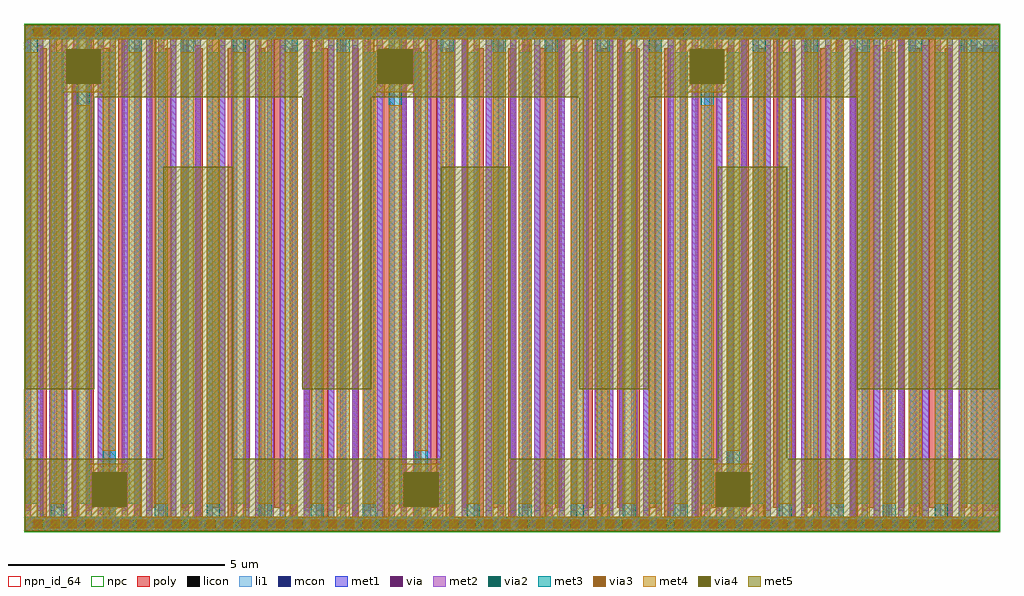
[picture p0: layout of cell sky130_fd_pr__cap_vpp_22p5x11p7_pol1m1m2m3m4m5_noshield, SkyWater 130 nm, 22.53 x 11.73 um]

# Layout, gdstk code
import gdstk
lib = gdstk.Library(unit=1e-6, precision=1e-09)
def R(c, l, rs):  # rectangles x0, y0, x1, y1
    for r in rs: c.add(gdstk.rectangle(r[:2], r[2:], *l))
def A(c, l, x, y, w, h, nx, ny, dx, dy):  # array of equal rectangles
    R(c, l, [(x+i*dx, y+j*dy, x+i*dx+w, y+j*dy+h) for i in range(nx) for j in range(ny)])
poly = (66, 20)
licon = (66, 44)
li1 = (67, 20)
mcon = (67, 44)
met1 = (68, 20)
via = (68, 44)
met2 = (69, 20)
via2 = (69, 44)
met3 = (70, 20)
via3 = (70, 44)
met4 = (71, 20)
via4 = (71, 44)
met5 = (72, 20)
npn_id_64 = (82, 64)
npc = (95, 20)

sky130_fd_pr__cap_vpp_22 = lib.new_cell('sky130_fd_pr__cap_vpp_22p5x11p7_pol1m1m2m3m4m5_noshield')
A(sky130_fd_pr__cap_vpp_22, poly, 0.36, 0.33, 0.15, 10.82, 31, 1, 0.72, 0)
A(sky130_fd_pr__cap_vpp_22, poly, 0, 0.54, 0.15, 10.82, 31, 1, 0.72, 0)
R(sky130_fd_pr__cap_vpp_22, poly, [(0,0,22.49,0.33), (22.32,0.54,22.49,11.36), (0,11.36,22.49,11.69)])
A(sky130_fd_pr__cap_vpp_22, licon, 0.17, 0.08, 0.17, 0.17, 65, 2, 0.34, 11.36)
A(sky130_fd_pr__cap_vpp_22, li1, 0, 0.33, 0.14, 10.89, 40, 1, 0.56, 0)
A(sky130_fd_pr__cap_vpp_22, li1, 0.28, 0.47, 0.14, 10.89, 39, 1, 0.56, 0)
R(sky130_fd_pr__cap_vpp_22, li1, [(0,0,22.49,0.33), (22.12,0.47,22.49,11.36), (0,11.36,22.49,11.69)])
A(sky130_fd_pr__cap_vpp_22, mcon, 0.19, 0.08, 0.17, 0.17, 61, 2, 0.36, 11.36)
A(sky130_fd_pr__cap_vpp_22, met1, 0.28, 0.33, 0.14, 10.89, 39, 1, 0.56, 0)
A(sky130_fd_pr__cap_vpp_22, met1, 0, 0.47, 0.14, 10.89, 40, 1, 0.56, 0)
R(sky130_fd_pr__cap_vpp_22, met1, [(0,0,22.49,0.33), (22.12,0.33,22.49,11.22), (0,11.36,22.49,11.69)])
R(sky130_fd_pr__cap_vpp_22, via, [(0.175,0.09,0.325,0.24), (0.495,0.09,0.645,0.24), (1.235,0.09,1.385,0.24), (1.555,0.09,1.705,0.24), (2.355,0.09,2.505,0.24), (2.675,0.09,2.825,0.24), (3.475,0.09,3.625,0.24), (3.795,0.09,3.945,0.24), (4.595,0.09,4.745,0.24), (4.915,0.09,5.065,0.24), (5.715,0.09,5.865,0.24), (6.035,0.09,6.185,0.24), (6.835,0.09,6.985,0.24), (7.155,0.09,7.305,0.24), (7.955,0.09,8.105,0.24), (8.275,0.09,8.425,0.24), (9.075,0.09,9.225,0.24), (9.395,0.09,9.545,0.24), (10.195,0.09,10.345,0.24), (10.515,0.09,10.665,0.24), (11.315,0.09,11.465,0.24), (11.635,0.09,11.785,0.24), (12.435,0.09,12.585,0.24), (12.755,0.09,12.905,0.24), (13.555,0.09,13.705,0.24), (13.875,0.09,14.025,0.24), (14.675,0.09,14.825,0.24), (14.995,0.09,15.145,0.24), (15.795,0.09,15.945,0.24), (16.115,0.09,16.265,0.24), (16.915,0.09,17.065,0.24), (17.235,0.09,17.385,0.24), (18.035,0.09,18.185,0.24), (18.355,0.09,18.505,0.24), (19.155,0.09,19.305,0.24), (19.475,0.09,19.625,0.24), (20.275,0.09,20.425,0.24), (20.595,0.09,20.745,0.24), (21.395,0.09,21.545,0.24), (21.715,0.09,21.865,0.24), (0.395,11.45,0.545,11.6), (0.715,11.45,0.865,11.6), (1.515,11.45,1.665,11.6), (1.835,11.45,1.985,11.6), (2.635,11.45,2.785,11.6), (2.955,11.45,3.105,11.6), (3.755,11.45,3.905,11.6), (4.075,11.45,4.225,11.6), (4.875,11.45,5.025,11.6), (5.195,11.45,5.345,11.6), (5.995,11.45,6.145,11.6), (6.315,11.45,6.465,11.6), (7.115,11.45,7.265,11.6), (7.435,11.45,7.585,11.6), (8.235,11.45,8.385,11.6), (8.555,11.45,8.705,11.6), (9.355,11.45,9.505,11.6), (9.675,11.45,9.825,11.6), (10.475,11.45,10.625,11.6), (10.795,11.45,10.945,11.6), (11.595,11.45,11.745,11.6), (11.915,11.45,12.065,11.6), (12.715,11.45,12.865,11.6), (13.035,11.45,13.185,11.6), (13.835,11.45,13.985,11.6), (14.155,11.45,14.305,11.6), (14.955,11.45,15.105,11.6), (15.275,11.45,15.425,11.6), (16.075,11.45,16.225,11.6), (16.395,11.45,16.545,11.6), (17.195,11.45,17.345,11.6), (17.515,11.45,17.665,11.6), (18.315,11.45,18.465,11.6), (18.635,11.45,18.785,11.6), (19.435,11.45,19.585,11.6), (19.755,11.45,19.905,11.6), (20.555,11.45,20.705,11.6), (20.875,11.45,21.025,11.6), (21.675,11.45,21.825,11.6), (21.995,11.45,22.145,11.6)])
A(sky130_fd_pr__cap_vpp_22, met2, 0, 0, 0.7, 0.33, 19, 1, 1.12, 0)
A(sky130_fd_pr__cap_vpp_22, met2, 0.84, 0, 0.14, 0.47, 19, 1, 1.12, 0)
A(sky130_fd_pr__cap_vpp_22, met2, 0, 0.33, 0.14, 10.89, 40, 1, 0.56, 0)
A(sky130_fd_pr__cap_vpp_22, met2, 0.28, 0.47, 0.14, 10.89, 39, 1, 0.56, 0)
A(sky130_fd_pr__cap_vpp_22, met2, 0, 11.22, 0.14, 0.47, 19, 1, 1.12, 0)
A(sky130_fd_pr__cap_vpp_22, met2, 0.28, 11.36, 0.7, 0.33, 19, 1, 1.12, 0)
R(sky130_fd_pr__cap_vpp_22, met2, [(21.28,0,22.49,0.33), (22.12,0.47,22.49,11.36), (21.14,11.36,22.49,11.69)])
A(sky130_fd_pr__cap_vpp_22, via2, 0.25, 0.065, 0.2, 0.2, 20, 1, 1.12, 0)
A(sky130_fd_pr__cap_vpp_22, via2, 0.53, 11.425, 0.2, 0.2, 19, 1, 1.12, 0)
A(sky130_fd_pr__cap_vpp_22, met3, 0.6, 0.33, 0.3, 10.73, 18, 1, 1.2, 0)
A(sky130_fd_pr__cap_vpp_22, met3, 0, 0.63, 0.3, 10.73, 18, 1, 1.2, 0)
R(sky130_fd_pr__cap_vpp_22, met3, [(0,0,22.49,0.33), (21.6,0.63,22.49,11.36), (0,11.36,22.49,11.69)])
A(sky130_fd_pr__cap_vpp_22, via3, 0.2, 0.065, 0.2, 0.2, 55, 2, 0.4, 11.36)
A(sky130_fd_pr__cap_vpp_22, met4, 1.2, 0.33, 0.3, 9.505, 3, 1, 7.2, 0)
A(sky130_fd_pr__cap_vpp_22, met4, 1.5, 0.33, 0.9, 0.045, 3, 1, 7.2, 0)
A(sky130_fd_pr__cap_vpp_22, met4, 2.4, 0.33, 0.3, 10.73, 5, 1, 1.2, 0)
A(sky130_fd_pr__cap_vpp_22, met4, 9.6, 0.33, 0.3, 10.73, 5, 1, 1.2, 0)
A(sky130_fd_pr__cap_vpp_22, met4, 16.8, 0.33, 0.3, 10.73, 4, 1, 1.2, 0)
A(sky130_fd_pr__cap_vpp_22, met4, 1.36, 0.375, 1.18, 1.18, 3, 1, 7.2, 0)
A(sky130_fd_pr__cap_vpp_22, met4, 3, 0.63, 0.3, 10.73, 5, 1, 1.2, 0)
A(sky130_fd_pr__cap_vpp_22, met4, 10.2, 0.63, 0.3, 10.73, 5, 1, 1.2, 0)
A(sky130_fd_pr__cap_vpp_22, met4, 17.4, 0.63, 0.3, 10.73, 4, 1, 1.2, 0)
A(sky130_fd_pr__cap_vpp_22, met4, 1.8, 1.855, 0.3, 9.505, 3, 1, 7.2, 0)
A(sky130_fd_pr__cap_vpp_22, met4, 0.76, 10.135, 1.18, 1.18, 3, 1, 7.2, 0)
A(sky130_fd_pr__cap_vpp_22, met4, 0.9, 11.315, 0.9, 0.045, 3, 1, 7.2, 0)
R(sky130_fd_pr__cap_vpp_22, met4, [(0,0,22.49,0.33), (0,0.33,0.3,11.06), (21.6,0.33,22.49,11.06), (0.6,0.63,0.9,11.36), (0,11.36,22.49,11.69)])
A(sky130_fd_pr__cap_vpp_22, via4, 1.55, 0.565, 0.8, 0.8, 3, 1, 7.2, 0)
A(sky130_fd_pr__cap_vpp_22, via4, 0.95, 10.325, 0.8, 0.8, 3, 1, 7.2, 0)
A(sky130_fd_pr__cap_vpp_22, met5, 1.24, 0.255, 1.42, 1.42, 3, 1, 7.2, 0)
A(sky130_fd_pr__cap_vpp_22, met5, 3.2, 1.675, 1.6, 6.74, 3, 1, 6.4, 0)
A(sky130_fd_pr__cap_vpp_22, met5, 0, 3.275, 1.6, 6.74, 3, 1, 6.4, 0)
A(sky130_fd_pr__cap_vpp_22, met5, 0.64, 10.015, 1.42, 1.42, 3, 1, 7.2, 0)
R(sky130_fd_pr__cap_vpp_22, met5, [(0,0,22.49,1.675), (19.2,3.275,22.49,10.015), (0,10.015,22.49,11.69)])
R(sky130_fd_pr__cap_vpp_22, npn_id_64, [(0.13,0.21,22.4,11.48)])
R(sky130_fd_pr__cap_vpp_22, npc, [(-0.02,-0.02,22.51,11.71)])

lib.write_gds('sky130_fd_pr__cap_vpp_22p5x11p7_pol1m1m2m3m4m5_noshield.gds')
